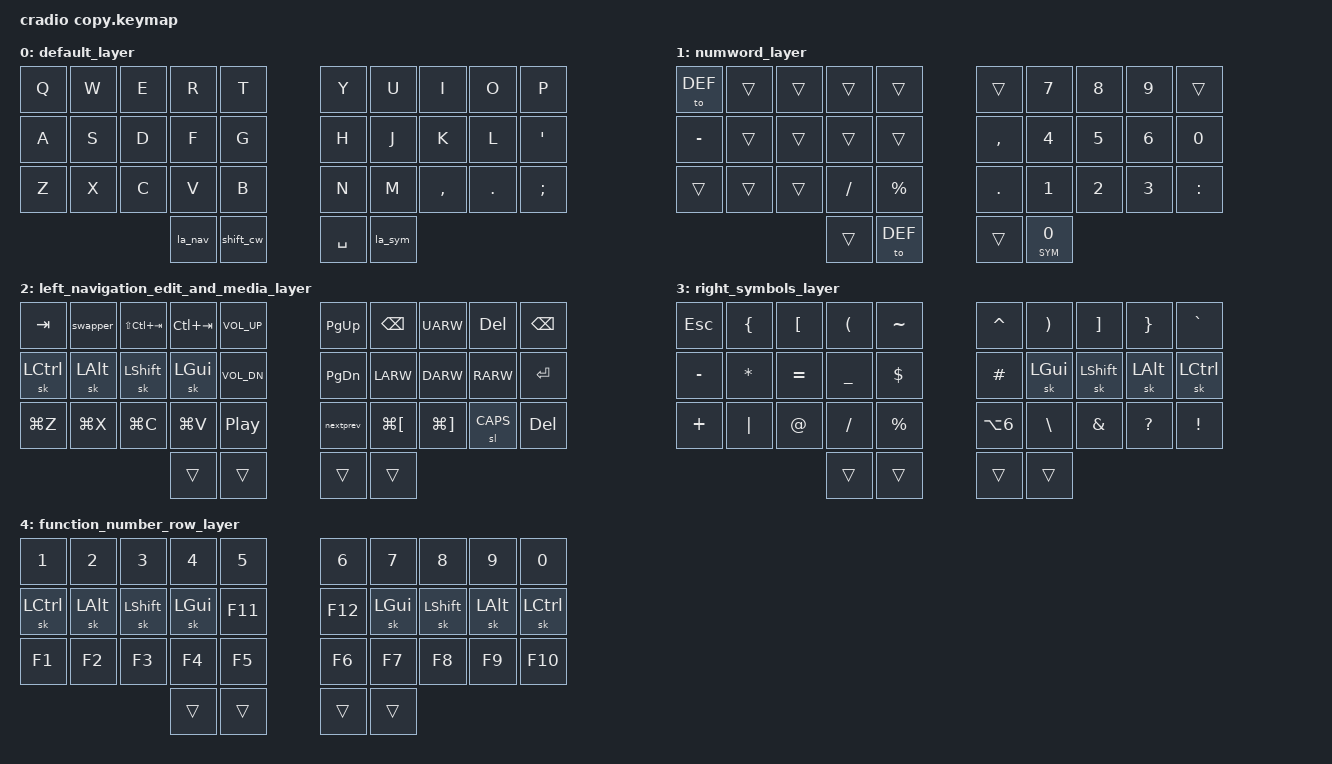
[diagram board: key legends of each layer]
// From my ZMK fork on GitHub
#include <behaviors.dtsi>
#include <dt-bindings/zmk/keys.h>
#include <dt-bindings/zmk/bt.h>

// Home row mods macro
// #define HRML(k1,k2,k3,k4) &ht LCTRL k1  &ht LALT k2  &ht  k3 LSHFT &ht LGUI k4
// #define HRMR(k1,k2,k3,k4) &ht RGUI k1  &ht RSHFT k2  &ht RALT k3  &ht RCTRL k4

// Nav layer special command buttons
#define GO_FWRD &kp LG(RBKT) // Forward button on browser and other apps
#define GO_BACK &kp LG(LBKT) // Back button on browser and other apps
#define CO_PTAB &kp LS(LC(TAB)) // Previous Tab
#define CO_NTAB &kp LC(TAB) // Next Tab
#define CO_UNDO &kp LG(Z) 
#define CO_CUT &kp LG(X) 
#define CO_COPY &kp LG(C) 
#define CO_PASTE &kp LG(V) 
#define CANCEL &kp K_CANCEL 
// #define SK_HYPER &sk LG(LC(LS(LALT))) // Sticky Hyper

// Media keys used on NAV
#define ME_VOLD &kp C_VOL_DN
#define ME_VOLU &kp C_VOL_UP
#define ME_MUTE &kp C_MUTE
#define ME_PLAY &kp C_PP

// macOS specific combinations
#define ALFRED LG(SPC) // Doubles as Spotlight for usage on iOS/iPadOS
#define SHTCAT LC(LS(SPC)) // App for mouseless operation
#define SCROLLA LG(LC(LS(SPC))) // App for mouseless scrolling (https://scrolla.app/)

// Aditional Writing Symbols
#define PARAG LA(N6) // §

// Layer names
#define DEF 0
#define NUM 1
#define NAV 2
#define SYM 3
#define FUN 4

&sk { // Custom &sk settings to allow for better handling of Callum Style mods
        release-after-ms = <5000>; // Default is 1000 ms
        quick-release; // Implemented fix from PR #1586 (https://github.com/zmkfirmware/zmk/pull/1586)
    };
&caps_word { // Changed settings to allow for accented characters
    continue-list = <
                    UNDERSCORE MINUS
                    SQT CARET TILDE GRAVE
                    K_CANCEL
                    BACKSPACE DELETE
                >;
    /delete-property/ ignore-modifiers; // Using modifiers as interrupters, avoiding CMD+Shift+S activations when I hit CMD+S.
};

/ {
    combos {
        compatible = "zmk,combos";
        
        // Layer combos        
        combo_numword_toggle { 
            timeout-ms = <80>;
            key-positions = <16 17 18>; // J K L / 4 5 6
            layers = <DEF NUM>;
            bindings = <&num_word>;
        };
        combo_navigate { 
            timeout-ms = <80>;
            key-positions = <11 12 13>; // S D F
            layers = <DEF NAV>;
            bindings = <&tog NAV>;
        };

        // macOS features combos
        combo_spotlight_alfred {
            timeout-ms = <80>;
            key-positions = <13 16>; // F J
            layers = <DEF>; // Only available in the DEF layer
            bindings = <&kp ALFRED>;
        };
        combo_shortcat {
            timeout-ms = <80>;
            key-positions = <1 2 3>; // W E R
            layers = <DEF>; // Only available in the DEF layer
            bindings = <&kp SHTCAT>;
        };
        combo_scrolla {
            timeout-ms = <80>;
            key-positions = <6 7 8>; // U I O
            layers = <DEF>; // Only available in the DEF layer
            bindings = <&kp SCROLLA>;
        };
        
        // Media
        combo_mute {
            timeout-ms = <80>;
            key-positions = <4 14>; // T G
            layers = <NAV>; // Only available in the NAV layer
            bindings = <&kp C_MUTE>;
        };
        
        // ZMK features
        combo_key_repeat {
            timeout-ms = <80>;
            key-positions = <26 27 28>; // M , .
            layers = <DEF>; // Only available in the DEF layer
            bindings = <&key_repeat>;
        };

        // Bluetooth toggles
        combo_bt0 {
            timeout-ms = <80>;
            key-positions = <3 4>;
            layers = <FUN>; 
            bindings = <&act_bt0>;
        };
        combo_toggle_bt1_connection {
            timeout-ms = <80>;
            key-positions = <13 14>;
            layers = <FUN>; 
            bindings = <&act_bt1>;
        };
        combo_toggle_bt2_connection {
            timeout-ms = <80>;
            key-positions = <23 24>;
            layers = <FUN>; 
            bindings = <&act_bt2>;
        };
        combo_toggle_bt3_connection {
            timeout-ms = <80>;
            key-positions = <5 6>;
            layers = <FUN>; 
            bindings = <&act_bt3>;
        };
        combo_toggle_bt4_connection {
            timeout-ms = <80>;
            key-positions = <15 16>;
            layers = <FUN>; 
            bindings = <&act_bt4>;
        };
        combo_toggle_bt5_connection {
            timeout-ms = <80>;
            key-positions = <25 26>;
            layers = <FUN>; 
            bindings = <&act_bt5>;
        };
        
        // Bluetooth Profile Config buttons
        combo_bootloader_on_the_left_side {
            timeout-ms = <80>;
            key-positions = <20 21>;
            layers = <FUN>; 
            bindings = <&bootloader>;
        };
        combo_clear_current_bluetooth_profile {
            timeout-ms = <80>;
            key-positions = <28 29>;
            layers = <FUN>; 
            bindings = <&bootloader>;
        };
    };
    
    behaviors {
        ht: hold_tap { // Currently, just the NUM row uses a hold tap key with &lt SYM N0 on right inner thumb.
            label = "hold_tap";
            compatible = "zmk,behavior-hold-tap";
            #binding-cells = <2>;
            flavor = "tap-preferred";
            tapping-term-ms = <280>; // Terms hugely favors taps
            quick-tap-ms = <280>;
            global-quick-tap;
            bindings = <&kp>, <&kp>;
        };
        
        shift_cw: tap_dance_caps_word {
            compatible = "zmk,behavior-tap-dance";
            label = "TAP_DANCE_CAPS_WORD";
            #binding-cells = <0>;
            tapping-term-ms = <300>;
            bindings = <&kp LSHFT>, <&caps_word>;
        };
        
        nextprev: tap_dance_media_next_prev {
            compatible = "zmk,behavior-tap-dance";
            label = "TAP_DANCE_NEXT_PREV_MEDIA";
            #binding-cells = <0>;
            tapping-term-ms = <300>;
            bindings = <&kp C_NEXT>, <&kp C_PREV>;
        };
        
        swapper: swapper { // Swapper // Got it from urob's repo as it's tri-state behavior is currently a PR for main ZMK
            compatible = "zmk,behavior-tri-state";
            label = "SWAPPER";
            #binding-cells = <0>;
            bindings = <&kt LCMD>, <&kp TAB>, <&kt LCMD>;
            ignored-key-positions = <7 9 16 17 18 29>; // Arrow keys and DEL/BSPC to quit/hide apps from altTabfs
        };
        
        num_word: behavior_num_word { // Documentation in PR# 1451 (https://github.com/zmkfirmware/zmk/pull/1451), got it from urob's repo
			compatible = "zmk,behavior-caps-word";
			label = "NUM_WORD_KEY";
			#binding-cells = <0>;
                        layers = <NUM>;                     // layer to be toggled
                        ignore-numbers;                     // numbers won't deactivate the layer, hence &num_word
                        ignore-modifiers;                   // modifiers won't deactivate the layer, hence &num_word
			            continue-list =                     // other keycodes that will not cancel &numword
                            <   BACKSPACE DELETE 
                                DOT COMMA SQT DQT COLON SEMICOLON SLASH MINUS
                                K_CANCEL
                            >;       
		};
    };
    
    macros {
        // Macros to cancel sticky behaviors with a muted key tap, emulating from Callum's oneshot QMK macro
        la_nav: cancel_queued_os_mods_and_toggle_nav {
            label = "LA_NAV";
            compatible = "zmk,behavior-macro";
            #binding-cells = <0>;
            wait-ms = <1>;
            bindings
                = <&macro_press &mo NAV>
                , <&macro_tap &kp K_CANCEL>
                , <&macro_pause_for_release>
                , <&macro_release &mo NAV>
                ;
        };
        la_sym: cancel_queued_os_mods_and_toggle_sym {
            label = "LA_SYM";
            compatible = "zmk,behavior-macro";
            #binding-cells = <0>;
            wait-ms = <1>;
            bindings
                = <&macro_press &mo SYM>
                , <&macro_tap &kp K_CANCEL>
                , <&macro_pause_for_release>
                , <&macro_release &mo SYM>
                ;
        };
        
        // Macros for quick bluetooth switching
        act_bt0: change_to_bt0_and_back_to_def { // MacBook Air
            label = "Activate BT0 device";
            compatible = "zmk,behavior-macro";
            #binding-cells = <0>;
            wait-ms = <100>;
            bindings
                = <&macro_tap &bt BT_SEL 0>
                , <&macro_tap &to DEF>
                ;
        };
        act_bt1: change_to_bt1_and_back_to_def { // iPad
            label = "Activate BT1 device";
            compatible = "zmk,behavior-macro";
            #binding-cells = <0>;
            wait-ms = <100>;
            bindings
                = <&macro_tap &bt BT_SEL 1>
                , <&macro_tap &to DEF>
                ;
        };
        act_bt2: change_to_bt2_and_back_to_def { // iPhone
            label = "Activate BT2 device";
            compatible = "zmk,behavior-macro";
            #binding-cells = <0>;
            wait-ms = <100>;
            bindings
                = <&macro_tap &bt BT_SEL 2>
                , <&macro_tap &to DEF>
                ;
        };
        act_bt3: change_to_bt3_and_back_to_def { // PiPoca
            label = "Activate BT3 device";
            compatible = "zmk,behavior-macro";
            #binding-cells = <0>;
            wait-ms = <100>;
            bindings
                = <&macro_tap &bt BT_SEL 3>
                , <&macro_tap &to DEF>
                ;
        };
        act_bt4: change_to_bt4_and_back_to_def { // Empty
            label = "Activate BT4 device";
            compatible = "zmk,behavior-macro";
            #binding-cells = <0>;
            wait-ms = <100>;
            bindings
                = <&macro_tap &bt BT_SEL 4>
                , <&macro_tap &to DEF>
                ;
        };
        act_bt5: change_to_bt5_and_back_to_def { // Empty
            label = "Activate BT5 device";
            compatible = "zmk,behavior-macro";
            #binding-cells = <0>;
            wait-ms = <100>;
            bindings
                = <&macro_tap &bt BT_SEL 5>
                , <&macro_tap &to DEF>
                ;
        };
    };

    conditional_layers {
        compatible = "zmk,conditional-layers";
        tri_layer {
            if-layers = <NAV SYM>;
            then-layer = <FUN>;
        };
    };

    keymap {
        compatible = "zmk,keymap";
        default_layer {
            bindings = <
        //╭──────────┬──────────┬──────────┬──────────┬──────────╮   ╭──────────┬──────────┬──────────┬──────────┬──────────╮
        //│  Q       │  W       │  E       │  R       │  T       │   │  Y       │  U       │  I       │  O       │  P       │
            &kp Q      &kp W      &kp E      &kp R      &kp T          &kp Y      &kp U      &kp I      &kp O      &kp P
        //├──────────┼──────────┼──────────┼──────────┼──────────┤   ├──────────┼──────────┼──────────┼──────────┼──────────┤
        //│  A       │  S       │  D       │  F       │  G       │   │  H       │  J       │  K       │  L       │ ' "      │
            &kp A      &kp S      &kp D      &kp F      &kp G          &kp H      &kp J      &kp K      &kp L      &kp SQT 
        //├──────────┼──────────┼──────────┼──────────┼──────────┤   ├──────────┼──────────┼──────────┼──────────┼──────────┤
        //│  Z       │  X       │  C       │  V       │  B       │   │  N       │  M       │ , <      │ . >      │ ; :      │
            &kp Z      &kp X      &kp C      &kp V      &kp B          &kp N      &kp M      &kp COMMA  &kp DOT    &kp SEMI
        //╰──────────┴──────────┴──────────┼──────────┼──────────┤   ├──────────┼──────────┼──────────┴──────────┴──────────╯
                                             &la_nav     &shift_cw     &kp SPC    &la_sym
        //                                 ╰──────────┴──────────╯   ╰──────────┴──────────╯
            >;
        };
        
        numword_layer { // Accessed through combo in DEF, positioned here to allow for access on every other layer bellow
            bindings = <
        //╭──────────┬──────────┬──────────┬──────────┬──────────╮   ╭──────────┬──────────┬──────────┬──────────┬──────────╮
        //│          │          │          │          │          │   │          │ 7        │ 8        │ 9        │          |
            &to DEF    &trans     &trans     &trans     &trans         &trans     &kp N7     &kp N8     &kp N9     &trans
        //├──────────┼──────────┼──────────┼──────────┼──────────┤   ├──────────┼──────────┼──────────┼──────────┼──────────┤
        //│ -        │          │          │          │          │   │ ,        │ 4        │ 5        │ 6        │ .        │
            &kp MINUS  &trans     &trans     &trans     &trans         &kp COMMA  &kp N4     &kp N5     &kp N6     &kp N0
        //├──────────┼──────────┼──────────┼──────────┼──────────┤   ├──────────┼──────────┼──────────┼──────────┼──────────┤
        //│          │          │          │ /        │ %        │   │ .        │ 1        │ 2        │ 3        │ :        |
            &trans     &trans     &trans     &kp FSLH   &kp PRCNT      &kp DOT    &kp N1     &kp N2     &kp N3     &kp COLON
        //╰──────────┴──────────┴──────────┼──────────┼──────────┤   ├──────────┼──────────┼──────────┴──────────┴──────────╯
                                             &trans     &to DEF        &trans     &lt SYM N0
        //                                 ╰──────────┴──────────╯   ╰──────────┴──────────╯
            >;
        };
        
        left_navigation_edit_and_media_layer {
            bindings = <
        //╭──────────┬──────────┬──────────┬──────────┬──────────╮   ╭──────────┬──────────┬──────────┬──────────┬──────────╮
        //│ TAB      │ SWAPPER  │ PREV. TAB│ NEXT TAB │ VOL. UP  │   │ PG UP    │ BACKSPACE│ UP       │ DELETE   │ BACKSPACE│
            &kp TAB    &swapper   CO_PTAB    CO_NTAB    ME_VOLU        &kp PG_UP  &kp BSPC   &kp UARW   &kp DEL    &kp BSPC
        //├──────────┼──────────┼──────────┼──────────┼──────────┤   ├──────────┼──────────┼──────────┼──────────┼──────────┤
        //│ CTRL     │ ALT      │ SHIFT    │ CMD      │ VOL DOWN │   │ PG DOWN  │ LEFT     │ DOWN     │ RIGHT    │ ENTER    │
            &sk LCTRL  &sk LALT   &sk LSHFT  &sk LGUI   ME_VOLD        &kp PG_DN  &kp LARW   &kp DARW   &kp RARW   &kp ENTER
        //├──────────┼──────────┼──────────┼──────────┼──────────┤   ├──────────┼──────────┼──────────┼──────────┼──────────┤
        //│ UNDO     │ CUT      │ COPY     │ PASTE    |PLAY/PAUSE│   │ NEXT/PREV│ NAV BACK │ FORWARD  │ CAPS     │ DELETE   │
            CO_UNDO    CO_CUT     CO_COPY    CO_PASTE   ME_PLAY        &nextprev  GO_BACK    GO_FWRD    &sl CAPS   &kp DEL
        //╰──────────┴──────────┴──────────┼──────────┼──────────┤   ├──────────┼──────────┼──────────┴──────────┴──────────╯
                                             &trans     &trans         &trans     &trans
        //                                 ╰──────────┴──────────╯   ╰──────────┴──────────╯
            >;
        };

        right_symbols_layer {
            bindings = <
        //╭──────────┬──────────┬──────────┬──────────┬──────────╮   ╭──────────┬──────────┬──────────┬──────────┬──────────╮
        //│ ESC      │  {       │  [       │  (       │ ~        │   │ ^        │ )        │ ]        │ }        │  `       │
            &kp ESC    &kp LBRC   &kp LBKT   &kp LPAR   &kp TILDE      &kp CARET  &kp RPAR   &kp RBKT   &kp RBRC   &kp GRAVE
        //├──────────┼──────────┼──────────┼──────────┼──────────┤   ├──────────┼──────────┼──────────┼──────────┼──────────┤
        //│ -        │ *        │ =        │ _        │ $        │   │ #        │ CMD      │ SHIFT    │ ALT      │ CTRL     │
            &kp MINUS  &kp ASTRK  &kp EQUAL  &kp UNDER  &kp DLLR       &kp HASH   &sk LGUI   &sk LSHFT  &sk LALT   &sk LCTRL
        //├──────────┼──────────┼──────────┼──────────┼──────────┤   ├──────────┼──────────┼──────────┼──────────┼──────────┤
        //│ +        │ |        │  @       │  /       │  %       │   │ §        │ \        │ &        │ ?        │ !        │
            &kp PLUS   &kp PIPE   &kp AT     &kp FSLH   &kp PRCNT      &kp PARAG  &kp BSLH   &kp AMPS   &kp QMARK  &kp EXCL
        //╰──────────┴──────────┴──────────┼──────────┼──────────┤   ├──────────┼──────────┼──────────┴──────────┴──────────╯
                                             &trans     &trans         &trans     &trans
        //                                 ╰──────────┴──────────╯   ╰──────────┴──────────╯
            >;
        };

        function_number_row_layer {
            bindings = <
        //╭──────────┬──────────┬──────────┬──────────┬──────────╮   ╭──────────┬──────────┬──────────┬──────────┬──────────╮
        //│ 1        │ 2        │ 3        │ 4        │ 5        │   │ 6        │ 7        │ 8        │ 9        │ 0        │
            &kp N1     &kp N2     &kp N3     &kp N4    &kp N5          &kp N6     &kp N7     &kp N8     &kp N9     &kp N0
        //├──────────┼──────────┼──────────┼──────────┼──────────┤   ├──────────┼──────────┼──────────┼──────────┼──────────┤
        //│ CTRL     │ ALT      │ SHIFT    │ CMD      │ F11      │   │ F12      │ CMD      │ SHIFT    │ ALT      │ CTRL     │
            &sk LCTRL  &sk LALT   &sk LSHFT  &sk LGUI   &kp F11        &kp F12    &sk LGUI   &sk LSHFT  &sk LALT   &sk LCTRL
        //├──────────┼──────────┼──────────┼──────────┼──────────┤   ├──────────┼──────────┼──────────┼──────────┼──────────┤
        //│ F1       │ F2       │ F3       │ F4       │ F5       │   │ F6       │ F7       │ F8       │ F9       │ F10      │
            &kp F1     &kp F2     &kp F3     &kp F4     &kp F5         &kp F6     &kp F7     &kp F8     &kp F9     &kp F10
        //╰──────────┴──────────┴──────────┼──────────┼──────────┤   ├──────────┼──────────┼──────────┴──────────┴──────────╯
                                             &trans     &trans         &trans    &trans
        //                                 ╰──────────┴──────────╯   ╰──────────┴──────────╯
            >;
        };
        
    };
};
